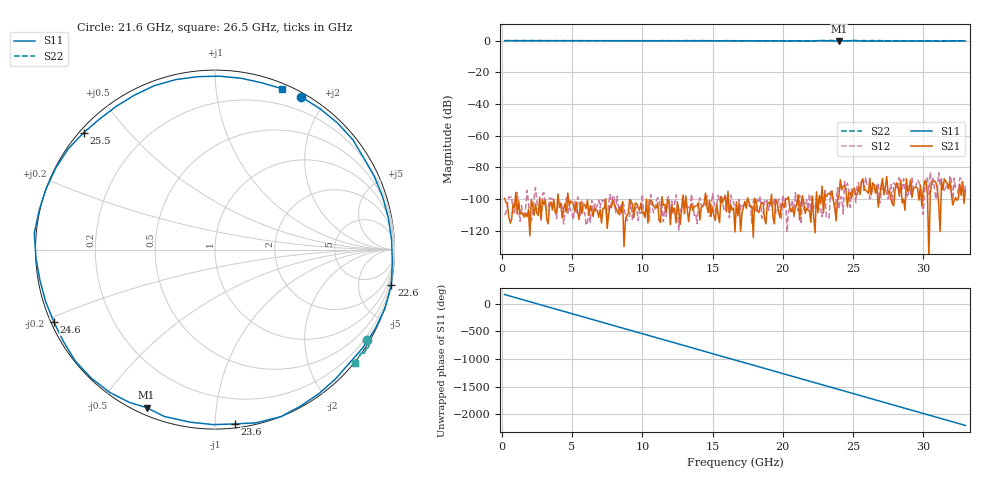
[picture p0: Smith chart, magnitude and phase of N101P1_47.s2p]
# GHZ S RI R 50
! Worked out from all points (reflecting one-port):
!   329 points, 200 MHz to 33 GHz, reference 50 ohm
!   lowest |S11| = -0.4 dB at 24 GHz (marker M1), VSWR 48.27, Z = 1.48 - j32.8 ohm
!   phase of S11 starts at 165 deg and turns -2368 deg over the sweep
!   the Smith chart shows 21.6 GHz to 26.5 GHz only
!   S11 on the Smith chart (normalised r, x): 21.6 GHz: 0.05, +1.71; 22.6 GHz: -0.13, -9.97; 23.6 GHz: 0.03, -1.12; 24.6 GHz: 0.01, -0.21; 25.5 GHz: 0.01, +0.38; 26.5 GHz: 0.05, +1.50
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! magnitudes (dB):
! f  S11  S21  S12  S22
! 200 MHz  0.0  -99.7  -110.2  0.0
! 5.7 GHz  -0.1  -109.1  -101.5  0.0
! 11.2 GHz  -0.2  -113.7  -99.8  0.0
! 16.6 GHz  -0.2  -120.9  -105.0  -0.1
! 21.6 GHz  -0.2  -109.2  -105.0  -0.1
! 22.1 GHz  -0.2  -98.3  -97.6  -0.1
! 22.6 GHz  0.0  -98.0  -107.6  0.1
! 23 GHz  -0.2  -96.6  -94.6  0.0
! 23.4 GHz  0.0  -97.9  -95.3  0.1
! 23.6 GHz  -0.2  -101.1  -99.1  0.0
! 23.9 GHz  -0.2  -100.2  -92.9  0.1
! 24 GHz  -0.4  -97.7  -106.3  -0.1
! 24.3 GHz  -0.1  -92.0  -109.6  0.0
! 24.6 GHz  -0.1  -105.1  -90.0  0.0
! 25 GHz  0.1  -94.2  -95.1  0.0
! 25.5 GHz  -0.2  -97.1  -97.6  0.0
! 26.5 GHz  -0.3  -91.0  -93.0  0.1
! 27.6 GHz  -0.3  -95.2  -94.9  -0.1
! 29.6 GHz  -0.3  -93.5  -88.2  -0.2
! 31.7 GHz  -0.2  -90.1  -90.3  0.0
! 32 GHz  -0.2  -96.5  -88.3  -0.2
! 33 GHz  -0.2  -94.6  -91.3  0.0
